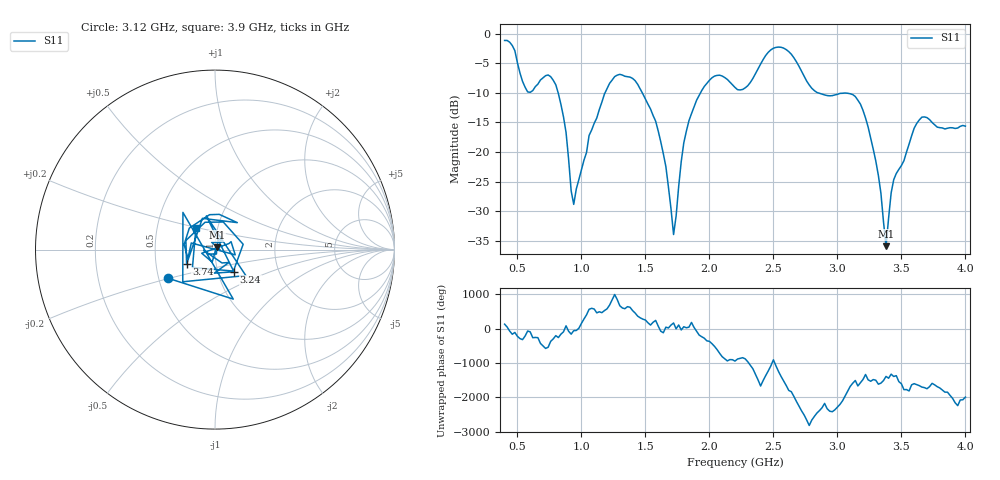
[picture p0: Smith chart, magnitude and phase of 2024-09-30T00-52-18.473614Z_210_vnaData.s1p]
!Created with skrf (http://scikit-rf.org).
# Hz S RI R 50.0
!freq ReS11 ImS11
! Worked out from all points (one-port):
!   181 points, 400 MHz to 4 GHz, reference 50 ohm
!   lowest |S11| = -35.9 dB at 3.38 GHz (marker M1), VSWR 1.03, Z = 51.1 + j1.22 ohm
!   |S11| at or under -10 dB: 818.3 MHz to 1.185 GHz (366.5 MHz wide, 36.6 % of centre); 1.475 GHz to 1.931 GHz (455.2 MHz wide, 26.7 % of centre); 2.848 GHz to end of sweep
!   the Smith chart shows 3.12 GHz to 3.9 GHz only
!   S11 on the Smith chart (normalised r, x): 3.12 GHz: 0.56, -0.20; 3.24 GHz: 1.19, -0.30; 3.74 GHz: 0.72, -0.12; 3.9 GHz: 0.79, +0.19
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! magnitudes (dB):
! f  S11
! 400 MHz  -1.2
! 580 MHz  -9.8
! 760 MHz  -7.3
! 860 MHz  -14.1
! 940 MHz  -28.9
! 1.06 GHz  -17.2
! 1.3 GHz  -6.9
! 1.58 GHz  -14.8
! 1.66 GHz  -22.5
! 1.72 GHz  -34.0
! 1.76 GHz  -25.8
! 1.82 GHz  -16.5
! 1.94 GHz  -9.6
! 2.2 GHz  -9.1
! 2.5 GHz  -2.5
! 2.66 GHz  -4.1
! 2.84 GHz  -9.9
! 3.1 GHz  -10.2
! 3.12 GHz  -10.3
! 3.24 GHz  -15.8
! 3.32 GHz  -23.9
! 3.38 GHz  -35.9
! 3.44 GHz  -24.7
! 3.56 GHz  -18.7
! 3.66 GHz  -14.1
! 3.74 GHz  -15.0
! 3.9 GHz  -15.9
! 4 GHz  -15.6
